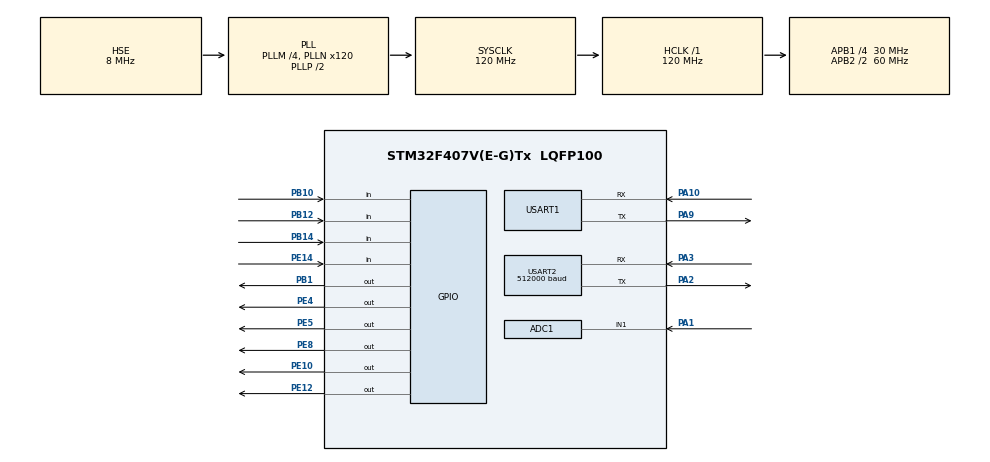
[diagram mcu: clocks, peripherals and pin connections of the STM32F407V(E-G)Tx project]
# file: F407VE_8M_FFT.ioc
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ADC1.Channel-0\#ChannelRegularConversion=ADC_CHANNEL_1
ADC1.ContinuousConvMode=DISABLE
ADC1.DMAContinuousRequests=DISABLE
ADC1.ExternalTrigConv=ADC_EXTERNALTRIGCONV_T2_TRGO
ADC1.NbrOfConversionFlag=1
ADC1.Rank-0\#ChannelRegularConversion=1
ADC1.Resolution=ADC_RESOLUTION_10B
ADC1.SamplingTime-0\#ChannelRegularConversion=ADC_SAMPLETIME_3CYCLES
ADC1.master=1
Dma.ADC1.0.Direction=DMA_PERIPH_TO_MEMORY
Dma.ADC1.0.FIFOMode=DMA_FIFOMODE_DISABLE
Dma.ADC1.0.Instance=DMA2_Stream0
Dma.ADC1.0.MemDataAlignment=DMA_MDATAALIGN_HALFWORD
Dma.ADC1.0.MemInc=DMA_MINC_ENABLE
Dma.ADC1.0.Mode=DMA_NORMAL
Dma.ADC1.0.PeriphDataAlignment=DMA_PDATAALIGN_HALFWORD
Dma.ADC1.0.PeriphInc=DMA_PINC_DISABLE
Dma.ADC1.0.Priority=DMA_PRIORITY_VERY_HIGH
Dma.Request0=ADC1
Mcu.Family=STM32F4
Mcu.Name=STM32F407V(E-G)Tx
Mcu.Package=LQFP100
NVIC.DMA2_Stream0_IRQn=true\:0\:0\:false\:false\:true\:false\:true
NVIC.PriorityGroup=NVIC_PRIORITYGROUP_4
NVIC.USART1_IRQn=true\:0\:0\:false\:false\:true\:true\:true
NVIC.USART2_IRQn=true\:0\:0\:false\:false\:true\:true\:true
PA1.Signal=ADCx_IN1
PA10.Mode=Asynchronous
PA10.Signal=USART1_RX
PA13.Mode=Serial_Wire
PA13.Signal=SYS_JTMS-SWDIO
PA14.Mode=Serial_Wire
PA14.Signal=SYS_JTCK-SWCLK
PA2.Mode=Asynchronous
PA2.Signal=USART2_TX
PA3.Mode=Asynchronous
PA3.Signal=USART2_RX
PA9.Mode=Asynchronous
PA9.Signal=USART1_TX
PB1.GPIO_ModeDefaultOutputPP=GPIO_MODE_OUTPUT_PP
PB1.GPIO_PuPd=GPIO_PULLUP
PB1.GPIO_Speed=GPIO_SPEED_FREQ_VERY_HIGH
PB1.PinState=GPIO_PIN_SET
PB1.Signal=GPIO_Output
PB10.GPIO_Mode=GPIO_MODE_INPUT
PB10.GPIO_PuPd=GPIO_PULLDOWN
PB10.Signal=GPIO_Input
PB12.GPIO_Mode=GPIO_MODE_INPUT
PB12.GPIO_PuPd=GPIO_PULLDOWN
PB12.Signal=GPIO_Input
PB14.GPIO_Mode=GPIO_MODE_INPUT
PB14.GPIO_PuPd=GPIO_PULLDOWN
PB14.Signal=GPIO_Input
PC14-OSC32_IN.Mode=LSE-External-Oscillator
PC14-OSC32_IN.Signal=RCC_OSC32_IN
PC15-OSC32_OUT.Mode=LSE-External-Oscillator
PC15-OSC32_OUT.Signal=RCC_OSC32_OUT
PE10.GPIO_ModeDefaultOutputPP=GPIO_MODE_OUTPUT_PP
PE10.GPIO_PuPd=GPIO_PULLUP
PE10.GPIO_Speed=GPIO_SPEED_FREQ_VERY_HIGH
PE10.PinState=GPIO_PIN_SET
PE10.Signal=GPIO_Output
PE12.GPIO_ModeDefaultOutputPP=GPIO_MODE_OUTPUT_PP
PE12.GPIO_PuPd=GPIO_PULLUP
PE12.GPIO_Speed=GPIO_SPEED_FREQ_VERY_HIGH
PE12.PinState=GPIO_PIN_SET
PE12.Signal=GPIO_Output
PE14.GPIO_Mode=GPIO_MODE_INPUT
PE14.GPIO_PuPd=GPIO_PULLDOWN
PE14.Signal=GPIO_Input
PE4.GPIO_ModeDefaultOutputPP=GPIO_MODE_OUTPUT_PP
PE4.GPIO_PuPd=GPIO_PULLUP
PE4.GPIO_Speed=GPIO_SPEED_FREQ_VERY_HIGH
PE4.PinState=GPIO_PIN_SET
PE4.Signal=GPIO_Output
PE5.GPIO_ModeDefaultOutputPP=GPIO_MODE_OUTPUT_PP
PE5.GPIO_PuPd=GPIO_PULLUP
PE5.GPIO_Speed=GPIO_SPEED_FREQ_VERY_HIGH
PE5.PinState=GPIO_PIN_SET
PE5.Signal=GPIO_Output
PE8.GPIO_ModeDefaultOutputPP=GPIO_MODE_OUTPUT_PP
PE8.GPIO_PuPd=GPIO_PULLUP
PE8.GPIO_Speed=GPIO_SPEED_FREQ_VERY_HIGH
PE8.PinState=GPIO_PIN_SET
PE8.Signal=GPIO_Output
PH0-OSC_IN.Mode=HSE-External-Oscillator
PH0-OSC_IN.Signal=RCC_OSC_IN
PH1-OSC_OUT.Mode=HSE-External-Oscillator
PH1-OSC_OUT.Signal=RCC_OSC_OUT
ProjectManager.HeapSize=0x200
ProjectManager.StackSize=0x400
ProjectManager.TargetToolchain=MDK-ARM V5.27
RCC.48MHZClocksFreq_Value=60000000
RCC.AHBFreq_Value=120000000
RCC.APB1CLKDivider=RCC_HCLK_DIV4
RCC.APB1Freq_Value=30000000
RCC.APB1TimFreq_Value=60000000
RCC.APB2CLKDivider=RCC_HCLK_DIV2
RCC.APB2Freq_Value=60000000
RCC.APB2TimFreq_Value=120000000
RCC.CortexFreq_Value=120000000
RCC.HCLKFreq_Value=120000000
RCC.HSE_VALUE=8000000
RCC.HSI_VALUE=16000000
RCC.PLLM=4
RCC.PLLN=120
RCC.PLLSourceVirtual=RCC_PLLSOURCE_HSE
RCC.SYSCLKFreq_VALUE=120000000
RCC.SYSCLKSource=RCC_SYSCLKSOURCE_PLLCLK
RCC.VCOOutputFreq_Value=240000000
SH.ADCx_IN1.0=ADC1_IN1,IN1
TIM2.AutoReloadPreload=TIM_AUTORELOAD_PRELOAD_ENABLE
TIM2.Period=29
TIM2.Prescaler=0
TIM2.TIM_MasterOutputTrigger=TIM_TRGO_UPDATE
USART1.VirtualMode=VM_ASYNC
USART2.BaudRate=512000
USART2.VirtualMode=VM_ASYNC
VP_TIM2_VS_ClockSourceINT.Mode=Internal
board=custom

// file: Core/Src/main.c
/* USER CODE BEGIN Header */
/**
  ******************************************************************************
  * @file           : main.c
  * @brief          : Main program body
  ******************************************************************************
  * @attention
  *
  * <h2><center>&copy; Copyright (c) 2020 STMicroelectronics.
  * All rights reserved.</center></h2>
  *
  * This software component is licensed by ST under BSD 3-Clause license,
  * the "License"; You may not use this file except in compliance with the
  * License. You may obtain a copy of the License at:
  *                        opensource.org/licenses/BSD-3-Clause
  *
  ******************************************************************************
  */
/* USER CODE END Header */
#include "main.h"
#include "adc.h"
#include "dma.h"
#include "tim.h"
#include "usart.h"
#include "gpio.h"

/* USER CODE BEGIN Includes */
#include "DELAY/delay.h"
#include "SIGNAL/myfft.h"
/* USER CODE END Includes */

/* USER CODE BEGIN PD */
#define FFT_LENGTH 1024

uint32_t sampleRate=2000000;
void printAll(float32_t* addr,uint16_t len);
/* USER CODE END PD */

/* USER CODE BEGIN PV */
uint16_t val[FFT_LENGTH];
float32_t fftData[FFT_LENGTH];
MyUARTHandle myuart1, myuart2;
uint8_t uartBuf1[100], uartBuf2[100];
/* USER CODE END PV */

void SystemClock_Config(void);

int main(void)
{
  /* USER CODE BEGIN 1 */
  char str[20];
  uint16_t i,j;
  uint8_t outVal;
  float32_t tmp;
  volatile uint8_t st[12];
  char hexTable[16]={'0','1','2','3','4','5','6','7','8','9','A','B','C','D','E','F'};
  /* USER CODE END 1 */

  /* MCU Configuration--------------------------------------------------------*/

  /* Reset of all peripherals, Initializes the Flash interface and the Systick. */
  HAL_Init();

  /* Configure the system clock */
  SystemClock_Config();

  /* Initialize all configured peripherals */
  MX_GPIO_Init();
  MX_DMA_Init();
  MX_USART1_UART_Init();
  MX_ADC1_Init();
  MX_TIM2_Init();
  MX_USART2_UART_Init();
  /* USER CODE BEGIN 2 */
  Delay_Init(120);
  HAL_ADC_Start_DMA(&hadc1,(uint32_t*)val,FFT_LENGTH);
  HAL_TIM_Base_Start(&htim2);
  HAL_GPIO_WritePin(GPIOE,GPIO_PIN_4,GPIO_PIN_SET);
  MyUART_Init(&myuart1, USART1, uartBuf1, 100);
  MyUART_Init(&myuart2, USART2, uartBuf2, 100);
  MyUART_SetOStream(USART1);
  Delay_ms(500);
  HAL_GPIO_TogglePin(GPIOE,GPIO_PIN_4);
  MyFFT_Init(sampleRate);
  MyFFT_FlattopWindow();
  HAL_GPIO_TogglePin(GPIOE,GPIO_PIN_4);
  Delay_ms(200);
  //printAll(rfftInAndFreq,FFT_LENGTH/2);
  /* USER CODE END 2 */

  /* Infinite loop */
  while (1)
  {

    /* USER CODE BEGIN 3 */
    if(__HAL_ADC_GET_FLAG(&hadc1,ADC_FLAG_OVR))
    {
      hadc1.Instance->CR2 &= ~ADC_CR2_DMA;
      HAL_GPIO_TogglePin(GPIOE,GPIO_PIN_4);
      for(i=0;i<FFT_LENGTH;i++)
        fftData[i]=val[i];
      HAL_GPIO_TogglePin(GPIOE,GPIO_PIN_4);
      MyFFT_CalcInPlace(fftData);
      HAL_GPIO_TogglePin(GPIOE,GPIO_PIN_4);
      //printAll(fftData,sizeof(fftData)/sizeof(fftData[0]));

      // Init transfer
      MyUART_ClearBuffer(&myuart2);
      str[0]=0x00;
      j=0;

      // Write command
      MyUART_WriteStr(&myuart2, "ref_stop\xFF\xFF\xFF");
      Delay_ms(5);
      MyUART_WriteStr(&myuart2, "cle 1,0\xFF\xFF\xFF");
      Delay_ms(5);
      MyUART_WriteStr(&myuart2, "addt 1,0,480\xFF\xFF\xFF");

       // Wait for response in 30ms
      for(i=0;i<15;i++)
      {
        if(str[0]==0xFE)
          break;
        Delay_ms(2);
        j=MyUART_Read(&myuart2, str + j, 4);
      }
      arm_max_no_idx_f32(fftData,FFT_LENGTH/2,&tmp);
      tmp=256/tmp;

      // Write data
      for(i=0;i<480;i++)
      {
        outVal=fftData[i]*tmp;
        MyUART_WriteChar(&myuart2, outVal);
      }
      Delay_ms(5);
      MyUART_WriteStr(&myuart2, "ref_star\xFF\xFF\xFF");
      Delay_ms(5);
      MyUART_ClearBuffer(&myuart2);
      // DMA DOES take the bandwidth, so I start it after UART transmition.
      HAL_ADC_Start_DMA(&hadc1,(uint32_t*)val,FFT_LENGTH);
    }
    for(i=0;i<10;i++)
    {
      Delay_ms(30);
      j=MyUART_Read(&myuart2, str, 3);
      if(j==3)
      {
        sampleRate = str[0]&0xFF;
        sampleRate |= (uint32_t)(str[1]<<8);
        sampleRate |= (uint32_t)(str[2]<<16);
        // for a 32-bit ARR register,
        // the prescaler can be set to 0,
        // and the lowest freq is 168M / (2^32-1) = 0.04Hz
        // or in this program: 60M / (2^32-1) = 0.014Hz

        // PRESCALER has been set to 0
        __HAL_TIM_SET_AUTORELOAD(&htim2,(60000000.0/2.0/sampleRate+0.5)-1);

      }
    }

    MyUART_ClearBuffer(&myuart2);
  }
  /* USER CODE END 3 */
}

void SystemClock_Config(void)
{
  RCC_OscInitTypeDef RCC_OscInitStruct = {0};
  RCC_ClkInitTypeDef RCC_ClkInitStruct = {0};

  /** Configure the main internal regulator output voltage
  */
  __HAL_RCC_PWR_CLK_ENABLE();
  __HAL_PWR_VOLTAGESCALING_CONFIG(PWR_REGULATOR_VOLTAGE_SCALE1);
  /** Initializes the RCC Oscillators according to the specified parameters
  * in the RCC_OscInitTypeDef structure.
  */
  RCC_OscInitStruct.OscillatorType = RCC_OSCILLATORTYPE_HSE;
  RCC_OscInitStruct.HSEState = RCC_HSE_ON;
  RCC_OscInitStruct.PLL.PLLState = RCC_PLL_ON;
  RCC_OscInitStruct.PLL.PLLSource = RCC_PLLSOURCE_HSE;
  RCC_OscInitStruct.PLL.PLLM = 4;
  RCC_OscInitStruct.PLL.PLLN = 120;
  RCC_OscInitStruct.PLL.PLLP = RCC_PLLP_DIV2;
  RCC_OscInitStruct.PLL.PLLQ = 4;
  if (HAL_RCC_OscConfig(&RCC_OscInitStruct) != HAL_OK)
  {
    Error_Handler();
  }
  /** Initializes the CPU, AHB and APB buses clocks
  */
  RCC_ClkInitStruct.ClockType = RCC_CLOCKTYPE_HCLK|RCC_CLOCKTYPE_SYSCLK
                              |RCC_CLOCKTYPE_PCLK1|RCC_CLOCKTYPE_PCLK2;
  RCC_ClkInitStruct.SYSCLKSource = RCC_SYSCLKSOURCE_PLLCLK;
  RCC_ClkInitStruct.AHBCLKDivider = RCC_SYSCLK_DIV1;
  RCC_ClkInitStruct.APB1CLKDivider = RCC_HCLK_DIV4;
  RCC_ClkInitStruct.APB2CLKDivider = RCC_HCLK_DIV2;

  if (HAL_RCC_ClockConfig(&RCC_ClkInitStruct, FLASH_LATENCY_3) != HAL_OK)
  {
    Error_Handler();
  }
}

/* USER CODE BEGIN 4 */

void printAll(float32_t* addr,uint16_t len)
{
  char buf[20];
  uint16_t i;
  for(i=0;i<len;i++)
  {
    sprintf(buf,"%d:%f",i,*(addr+i));
    MyUART_WriteLine(&myuart1, buf);
    Delay_ms(2);
  }
}

/* USER CODE END 4 */

void Error_Handler(void)
{
}

/************************ (C) COPYRIGHT STMicroelectronics *****END OF FILE****/
